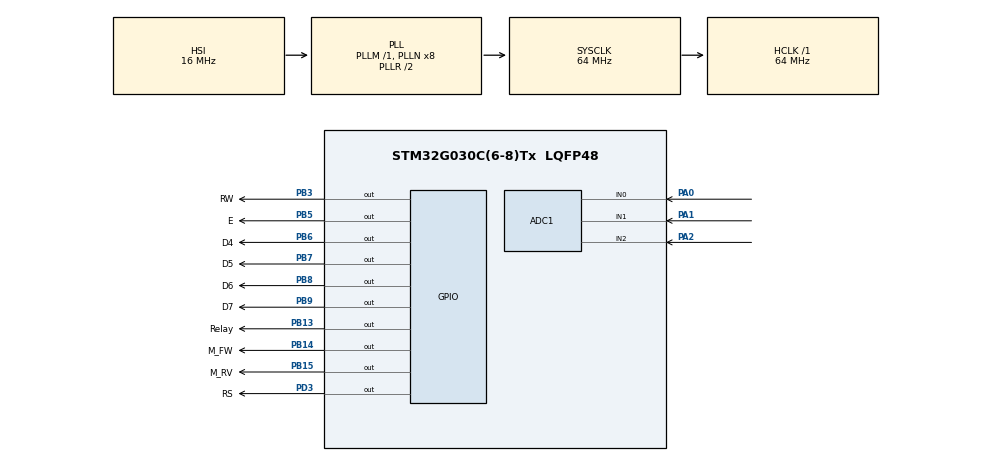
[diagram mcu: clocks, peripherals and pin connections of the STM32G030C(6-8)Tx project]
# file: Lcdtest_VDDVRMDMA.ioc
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ADC1.Channel-6\#ChannelRegularConversion=ADC_CHANNEL_0
ADC1.Channel-7\#ChannelRegularConversion=ADC_CHANNEL_1
ADC1.Channel-8\#ChannelRegularConversion=ADC_CHANNEL_2
ADC1.ClockPrescaler=ADC_CLOCK_ASYNC_DIV16
ADC1.ContinuousConvMode=ENABLE
ADC1.DMAContinuousRequests=DISABLE
ADC1.LowPowerAutoPowerOff=ENABLE
ADC1.NbrOfConversion=3
ADC1.NbrOfConversionFlag=1
ADC1.Rank-6\#ChannelRegularConversion=1
ADC1.Rank-7\#ChannelRegularConversion=2
ADC1.Rank-8\#ChannelRegularConversion=3
ADC1.SamplingTime-6\#ChannelRegularConversion=ADC_SAMPLINGTIME_COMMON_1
ADC1.SamplingTime-7\#ChannelRegularConversion=ADC_SAMPLINGTIME_COMMON_1
ADC1.SamplingTime-8\#ChannelRegularConversion=ADC_SAMPLINGTIME_COMMON_1
ADC1.SamplingTimeCommon1=ADC_SAMPLETIME_160CYCLES_5
ADC1.SelectedChannel=ADC_CHANNEL_0|ADC_CHANNEL_1|ADC_CHANNEL_2
ADC1.master=1
Dma.ADC1.0.Direction=DMA_PERIPH_TO_MEMORY
Dma.ADC1.0.EventEnable=DISABLE
Dma.ADC1.0.Instance=DMA1_Channel1
Dma.ADC1.0.MemDataAlignment=DMA_MDATAALIGN_HALFWORD
Dma.ADC1.0.MemInc=DMA_MINC_ENABLE
Dma.ADC1.0.Mode=DMA_NORMAL
Dma.ADC1.0.PeriphDataAlignment=DMA_PDATAALIGN_HALFWORD
Dma.ADC1.0.PeriphInc=DMA_PINC_DISABLE
Dma.ADC1.0.Polarity=HAL_DMAMUX_REQ_GEN_RISING
Dma.ADC1.0.Priority=DMA_PRIORITY_LOW
Dma.ADC1.0.RequestNumber=1
Dma.ADC1.0.SignalID=NONE
Dma.ADC1.0.SyncEnable=DISABLE
Dma.ADC1.0.SyncPolarity=HAL_DMAMUX_SYNC_NO_EVENT
Dma.ADC1.0.SyncRequestNumber=1
Dma.ADC1.0.SyncSignalID=NONE
Dma.Request0=ADC1
Mcu.Family=STM32G0
Mcu.Name=STM32G030C(6-8)Tx
Mcu.Package=LQFP48
NVIC.DMA1_Channel1_IRQn=true\:0\:0\:false\:false\:true\:false\:true\:true
PA0.Mode=IN0
PA0.Signal=ADC1_IN0
PA1.Mode=IN1
PA1.Signal=ADC1_IN1
PA13.Mode=Serial_Wire
PA13.Signal=SYS_SWDIO
PA14-BOOT0.Mode=Serial_Wire
PA14-BOOT0.Signal=SYS_SWCLK
PA2.Mode=IN2
PA2.Signal=ADC1_IN2
PB13.GPIO_Label=Relay
PB13.GPIO_PuPd=GPIO_PULLDOWN
PB13.Signal=GPIO_Output
PB14.GPIO_Label=M_FW
PB14.GPIO_PuPd=GPIO_PULLDOWN
PB14.Signal=GPIO_Output
PB15.GPIO_Label=M_RV
PB15.GPIO_PuPd=GPIO_PULLDOWN
PB15.Signal=GPIO_Output
PB3.GPIO_Label=RW
PB3.Signal=GPIO_Output
PB5.GPIO_Label=E
PB5.Signal=GPIO_Output
PB6.GPIO_Label=D4
PB6.Signal=GPIO_Output
PB7.GPIO_Label=D5
PB7.Signal=GPIO_Output
PB8.GPIO_Label=D6
PB8.Signal=GPIO_Output
PB9.GPIO_Label=D7
PB9.Signal=GPIO_Output
PD3.GPIO_Label=RS
PD3.Signal=GPIO_Output
ProjectManager.HeapSize=0x200
ProjectManager.StackSize=0x400
ProjectManager.TargetToolchain=STM32CubeIDE
RCC.ADCFreq_Value=64000000
RCC.AHBFreq_Value=64000000
RCC.CortexFreq_Value=64000000
RCC.EXTERNAL_CLOCK_VALUE=12288000
RCC.HCLKFreq_Value=64000000
RCC.HSE_VALUE=8000000
RCC.HSI_VALUE=16000000
RCC.LSE_VALUE=32768
RCC.SYSCLKFreq_VALUE=64000000
RCC.SYSCLKSource=RCC_SYSCLKSOURCE_PLLCLK
RCC.VCOOutputFreq_Value=128000000
TIM1.Prescaler=64-1
VP_TIM1_VS_ClockSourceINT.Mode=Internal
board=custom

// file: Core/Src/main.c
/* USER CODE BEGIN Header */
/**
  ******************************************************************************
  * @file           : main.c
  * @brief          : Main program body
  ******************************************************************************
  * @attention
  *
  * Copyright (c) 2023 STMicroelectronics.
  * All rights reserved.
  *
  * This software is licensed under terms that can be found in the LICENSE file
  * in the root directory of this software component.
  * If no LICENSE file comes with this software, it is provided AS-IS.
  *
  ******************************************************************************
  */
/* USER CODE END Header */
#include "main.h"

/* USER CODE BEGIN Includes */
#include"lcd1.h"
#include "stdio.h"
#include "math.h"
#include "string.h"
/* USER CODE END Includes */

/* USER CODE BEGIN PD */
#define fact_val 3
#define fact_val_addr *((uint16_t*)0x1FFF75AA)
#define Reso 4095
#define DMA_Time_Out 100
#define NumOfADCChan 3
#define EachChanSample 160
/* USER CODE END PD */

ADC_HandleTypeDef hadc1;
DMA_HandleTypeDef hdma_adc1;

TIM_HandleTypeDef htim1;

/* USER CODE BEGIN PV */
char text[100];
uint16_t Id =0;
uint32_t Start_Time=0;
uint16_t Diff_Time=0;
typedef enum
{
	Fun_Ok, //Represents FADC status that it is OK
	Fun_Error, //Represents FADC Error
	Fun_Timeout //Represents that FADC is timed out
}Fun_Status;
typedef enum
{
    ADC_DMA_Init,
    ADC_DMA_Ready,
    ADC_DMA_Started,
    ADC_DMA_Completed,
	ADC_DMA_ERROR
}ADC_DMA_Status;

typedef struct{
    float Vraw1;
    float Vraw2;
    float Vraw3;
    float Vref;
    float K;
    float DCoffset;
    float Vrms1;
    float Vrms2;
    float Vrms3;
    ADC_DMA_Status StatusDMA;
    ADC_HandleTypeDef* HADC;
    uint16_t ADC_DMA_Sample[NumOfADCChan*EachChanSample];
}ADCPar;
ADCPar ADCVar;
/* USER CODE END PV */

void SystemClock_Config(void);
static void MX_GPIO_Init(void);
static void MX_DMA_Init(void);
static void MX_TIM1_Init(void);
static void MX_ADC1_Init(void);

/* USER CODE BEGIN 0 */
void Vrefint_init(ADC_HandleTypeDef* HADC)
{

  /* USER CODE BEGIN ADC1_Init 0 */

  /* USER CODE END ADC1_Init 0 */

  ADC_ChannelConfTypeDef sConfig = {0};

  /* USER CODE BEGIN ADC1_Init 1 */

  /* USER CODE END ADC1_Init 1 */

  /** Configure the global features of the ADC (Clock, Resolution, Data Alignment and number of conversion)
  */
  HADC->Instance = ADC1;
  HADC->Init.ClockPrescaler = ADC_CLOCK_SYNC_PCLK_DIV2;
  HADC->Init.Resolution = ADC_RESOLUTION_12B;
  HADC->Init.DataAlign = ADC_DATAALIGN_RIGHT;
  HADC->Init.ScanConvMode = ADC_SCAN_DISABLE;
  HADC->Init.EOCSelection = ADC_EOC_SINGLE_CONV;
  HADC->Init.LowPowerAutoWait = DISABLE;
  HADC->Init.LowPowerAutoPowerOff = DISABLE;
  HADC->Init.ContinuousConvMode = DISABLE;
  HADC->Init.NbrOfConversion = 1;
  HADC->Init.DiscontinuousConvMode = DISABLE;
  HADC->Init.ExternalTrigConv = ADC_SOFTWARE_START;
  HADC->Init.ExternalTrigConvEdge = ADC_EXTERNALTRIGCONVEDGE_NONE;
  HADC->Init.DMAContinuousRequests = DISABLE;
  HADC->Init.Overrun = ADC_OVR_DATA_PRESERVED;
  HADC->Init.SamplingTimeCommon1 = ADC_SAMPLETIME_160CYCLES_5;
  HADC->Init.SamplingTimeCommon2 = ADC_SAMPLETIME_1CYCLE_5;
  HADC->Init.OversamplingMode = DISABLE;
  HADC->Init.TriggerFrequencyMode = ADC_TRIGGER_FREQ_HIGH;
  if (HAL_ADC_Init(&hadc1) != HAL_OK)
  {

  }

  /** Configure Regular Channel
  */
  sConfig.Channel = ADC_CHANNEL_VREFINT;
  sConfig.Rank = ADC_REGULAR_RANK_1;
  sConfig.SamplingTime = ADC_SAMPLINGTIME_COMMON_1;
  if (HAL_ADC_ConfigChannel(&hadc1, &sConfig) != HAL_OK)
  {

  }
  /* USER CODE BEGIN ADC1_Init 2 */

  /* USER CODE END ADC1_Init 2 */

}

Fun_Status GetVref(ADCPar * ADCValues)
{
	  Vrefint_init(ADCValues->HADC);
	  if(HAL_ADC_Start(ADCValues->HADC) != HAL_OK)
	  {
		return Fun_Error;
	  }
	  if(HAL_ADC_PollForConversion(ADCValues->HADC, HAL_MAX_DELAY) != HAL_OK)
	  {
		  return Fun_Error;
	  }
	  ADCValues->Vref = HAL_ADC_GetValue(ADCValues->HADC);
	  if(HAL_ADC_Stop(ADCValues->HADC) != HAL_OK)
	  {
		  return Fun_Error;
	  }
	  ADCValues->Vref =(fact_val * fact_val_addr)/ADCValues->Vref;
	  ADCValues->K=ADCValues->Vref/Reso;
	  //3 channel init
	  MX_ADC1_Init();
	  HAL_Delay(10);
	  HAL_ADCEx_Calibration_Start(&hadc1);
	  HAL_Delay(10);
	  return Fun_Ok;
}

Fun_Status FADC_Get_VRMS(ADCPar* FADC_p){

    if((FADC_p->StatusDMA==ADC_DMA_Ready)||(FADC_p->StatusDMA==ADC_DMA_ERROR))
    {
        //
        Start_Time=HAL_GetTick();
        HAL_ADC_Start_DMA(FADC_p->HADC, (uint32_t*)&FADC_p->ADC_DMA_Sample,NumOfADCChan*EachChanSample);
        FADC_p->StatusDMA=ADC_DMA_Started;
    }

    if(FADC_p->StatusDMA==ADC_DMA_Completed)
    {
        uint16_t id=0;
        long double Vrmssqr1=0,Vrmssqr2=0,Vrmssqr3=0;
         for(id=0;id<EachChanSample;id++)
         {
             FADC_p->Vrms1 = FADC_p->ADC_DMA_Sample[id*3];
             FADC_p->Vrms2 = FADC_p->ADC_DMA_Sample[(id*3)+1];
             FADC_p->Vrms3 = FADC_p->ADC_DMA_Sample[(id*3)+2];

             FADC_p->Vrms1  =  (FADC_p->Vrms1)-2047.5;
             FADC_p->Vrms2  =  (FADC_p->Vrms2)-2047.5;
             FADC_p->Vrms3  =  (FADC_p->Vrms3)-2047.5;

             Vrmssqr1+=FADC_p->Vrms1*FADC_p->Vrms1 ;
             Vrmssqr2+=FADC_p->Vrms2*FADC_p->Vrms2 ;
             Vrmssqr3+=FADC_p->Vrms3*FADC_p->Vrms3 ;
         }

         //each channel mean
         Vrmssqr1=Vrmssqr1/id;
         Vrmssqr2=Vrmssqr2/id;
         Vrmssqr3=Vrmssqr3/id;

         FADC_p->Vrms1 = sqrt(Vrmssqr1);
         FADC_p->Vrms2 = sqrt(Vrmssqr2);
         FADC_p->Vrms3 = sqrt(Vrmssqr3);

         FADC_p->Vraw1 = FADC_p->Vrms1;
         FADC_p->Vraw2 = FADC_p->Vrms2;
         FADC_p->Vraw3 = FADC_p->Vrms3;

         FADC_p->Vrms1 *= ((0.3543)*(FADC_p->Vref/3.3));
         FADC_p->Vrms2 *= ((0.4966)*(FADC_p->Vref/3.3));
         FADC_p->Vrms3 *= ((0.4966)*(FADC_p->Vref/3.3));
         FADC_p->StatusDMA=ADC_DMA_Ready;

         //check condition

    }
    return Fun_Ok;
}

void HAL_ADC_ConvCpltCallback(ADC_HandleTypeDef* hadc)
{
  if(hadc->Instance == ADC1)
  {
	  ADCVar.StatusDMA = ADC_DMA_Completed;
    // This function will be called when ADC conversion is complete
    // You can process the ADC data here
      Diff_Time=HAL_GetTick()-Start_Time;

  }
}
void HAL_ADC_ErrorCallback(ADC_HandleTypeDef *hadc)
{
	  if(hadc->Instance == ADC1)
	  {
		  ADCVar.StatusDMA = ADC_DMA_ERROR;
		  Diff_Time=HAL_GetTick()-Start_Time;
	  }
}

/* USER CODE END 0 */

int main(void)
{

  /* MCU Configuration--------------------------------------------------------*/

  /* Reset of all peripherals, Initializes the Flash interface and the Systick. */
  HAL_Init();

  /* USER CODE BEGIN Init */
//uint8_t Sample = 0;
//float SampleVolatge = 0;
  /* USER CODE END Init */

  /* Configure the system clock */
  SystemClock_Config();

  /* Initialize all configured peripherals */
  MX_GPIO_Init();
  MX_DMA_Init();
  MX_TIM1_Init();
  MX_ADC1_Init();
  /* USER CODE BEGIN 2 */
  LCD_Init();
  LCD_Clear();
  LCD_SetCursor(0, 0);
  LCD_Print("  LOL....");
  HAL_Delay(1000);
  HAL_ADCEx_Calibration_Start(&hadc1);
  HAL_Delay(10);
  ADCVar.StatusDMA = ADC_DMA_Ready;
  ADCVar.HADC =&hadc1;
  GetVref(&ADCVar);
  /* USER CODE END 2 */

  /* Infinite loop */
  while (1)
  {

    /* USER CODE BEGIN 3 */
//	  HAL_GPIO_WritePin(GPIOB, GPIO_PIN_9, GPIO_PIN_RESET);
//	  HAL_GPIO_WritePin(M_RV_GPIO_Port, M_RV_Pin, GPIO_PIN_RESET);
//	  HAL_GPIO_WritePin(M_FW_GPIO_Port, M_FW_Pin, GPIO_PIN_SET);
	  //HAL_GPIO_TogglePin(Relay_GPIO_Port, Relay_Pin);

	  uint32_t timeout = HAL_GetTick();
	  while((HAL_GetTick()-timeout)<1000)
	  {
//		  GetVref(&ADCVar);
		  FADC_Get_VRMS(&ADCVar);

	  }

	  LCD_Clear();
	  LCD_SetCursor(0, 0);
	  sprintf(text,"Voltage %d,%d",Diff_Time,(uint16_t)(ADCVar.Vraw1*100));
	  LCD_Print(text);
	  LCD_SetCursor(1, 0);
	  sprintf(text,"%d,%d,%d",(uint16_t)(ADCVar.Vrms1),Id,(uint16_t)(ADCVar.Vref*10));
	  LCD_Print(text);
	  HAL_Delay(500);
//	  GetVref(&ADCVar);

//	  for(uint32_t id =0;id<=20000;id++)
//	  {
//
//	  }
//	  HAL_GPIO_WritePin(GPIOB, GPIO_PIN_9, GPIO_PIN_SET);
//	  HAL_GPIO_WritePin(M_RV_GPIO_Port, M_RV_Pin, GPIO_PIN_SET);
//	  HAL_GPIO_WritePin(M_FW_GPIO_Port, M_FW_Pin, GPIO_PIN_RESET);
//	  for(uint32_t id =0;id<=20000;id++)
//	  {
//
//	  }
//	  HAL_GPIO_TogglePin(Relay_GPIO_Port, Relay_Pin);
//	  LCD_Clear();
//	  LCD_SetCursor(0, 0);
//	  LCD_Print("L_!@#$%^^&*)_");
//	  LCD_SetCursor(1, 0);
//	  LCD_Print("_+&%#@&_");

  }
  /* USER CODE END 3 */
}

void SystemClock_Config(void)
{
  RCC_OscInitTypeDef RCC_OscInitStruct = {0};
  RCC_ClkInitTypeDef RCC_ClkInitStruct = {0};

  /** Configure the main internal regulator output voltage
  */
  HAL_PWREx_ControlVoltageScaling(PWR_REGULATOR_VOLTAGE_SCALE1);

  /** Initializes the RCC Oscillators according to the specified parameters
  * in the RCC_OscInitTypeDef structure.
  */
  RCC_OscInitStruct.OscillatorType = RCC_OSCILLATORTYPE_HSI;
  RCC_OscInitStruct.HSIState = RCC_HSI_ON;
  RCC_OscInitStruct.HSIDiv = RCC_HSI_DIV1;
  RCC_OscInitStruct.HSICalibrationValue = RCC_HSICALIBRATION_DEFAULT;
  RCC_OscInitStruct.PLL.PLLState = RCC_PLL_ON;
  RCC_OscInitStruct.PLL.PLLSource = RCC_PLLSOURCE_HSI;
  RCC_OscInitStruct.PLL.PLLM = RCC_PLLM_DIV1;
  RCC_OscInitStruct.PLL.PLLN = 8;
  RCC_OscInitStruct.PLL.PLLP = RCC_PLLP_DIV2;
  RCC_OscInitStruct.PLL.PLLR = RCC_PLLR_DIV2;
  if (HAL_RCC_OscConfig(&RCC_OscInitStruct) != HAL_OK)
  {
    Error_Handler();
  }

  /** Initializes the CPU, AHB and APB buses clocks
  */
  RCC_ClkInitStruct.ClockType = RCC_CLOCKTYPE_HCLK|RCC_CLOCKTYPE_SYSCLK
                              |RCC_CLOCKTYPE_PCLK1;
  RCC_ClkInitStruct.SYSCLKSource = RCC_SYSCLKSOURCE_PLLCLK;
  RCC_ClkInitStruct.AHBCLKDivider = RCC_SYSCLK_DIV1;
  RCC_ClkInitStruct.APB1CLKDivider = RCC_HCLK_DIV1;

  if (HAL_RCC_ClockConfig(&RCC_ClkInitStruct, FLASH_LATENCY_2) != HAL_OK)
  {
    Error_Handler();
  }
}

static void MX_ADC1_Init(void)
{

  ADC_ChannelConfTypeDef sConfig = {0};

  /** Configure the global features of the ADC (Clock, Resolution, Data Alignment and number of conversion)
  */
  hadc1.Instance = ADC1;
  hadc1.Init.ClockPrescaler = ADC_CLOCK_ASYNC_DIV16;
  hadc1.Init.Resolution = ADC_RESOLUTION_12B;
  hadc1.Init.DataAlign = ADC_DATAALIGN_RIGHT;
  hadc1.Init.ScanConvMode = ADC_SCAN_ENABLE;
  hadc1.Init.EOCSelection = ADC_EOC_SINGLE_CONV;
  hadc1.Init.LowPowerAutoWait = DISABLE;
  hadc1.Init.LowPowerAutoPowerOff = ENABLE;
  hadc1.Init.ContinuousConvMode = ENABLE;
  hadc1.Init.NbrOfConversion = 3;
  hadc1.Init.ExternalTrigConv = ADC_SOFTWARE_START;
  hadc1.Init.ExternalTrigConvEdge = ADC_EXTERNALTRIGCONVEDGE_NONE;
  hadc1.Init.DMAContinuousRequests = DISABLE;
  hadc1.Init.Overrun = ADC_OVR_DATA_PRESERVED;
  hadc1.Init.SamplingTimeCommon1 = ADC_SAMPLETIME_160CYCLES_5;
  hadc1.Init.SamplingTimeCommon2 = ADC_SAMPLETIME_1CYCLE_5;
  hadc1.Init.OversamplingMode = DISABLE;
  hadc1.Init.TriggerFrequencyMode = ADC_TRIGGER_FREQ_HIGH;
  if (HAL_ADC_Init(&hadc1) != HAL_OK)
  {
    Error_Handler();
  }

  /** Configure Regular Channel
  */
  sConfig.Channel = ADC_CHANNEL_0;
  sConfig.Rank = ADC_REGULAR_RANK_1;
  sConfig.SamplingTime = ADC_SAMPLINGTIME_COMMON_1;
  if (HAL_ADC_ConfigChannel(&hadc1, &sConfig) != HAL_OK)
  {
    Error_Handler();
  }

  /** Configure Regular Channel
  */
  sConfig.Channel = ADC_CHANNEL_1;
  sConfig.Rank = ADC_REGULAR_RANK_2;
  if (HAL_ADC_ConfigChannel(&hadc1, &sConfig) != HAL_OK)
  {
    Error_Handler();
  }

  /** Configure Regular Channel
  */
  sConfig.Channel = ADC_CHANNEL_2;
  sConfig.Rank = ADC_REGULAR_RANK_3;
  if (HAL_ADC_ConfigChannel(&hadc1, &sConfig) != HAL_OK)
  {
    Error_Handler();
  }

}

static void MX_TIM1_Init(void)
{

  TIM_ClockConfigTypeDef sClockSourceConfig = {0};
  TIM_MasterConfigTypeDef sMasterConfig = {0};

  htim1.Instance = TIM1;
  htim1.Init.Prescaler = 64-1;
  htim1.Init.CounterMode = TIM_COUNTERMODE_UP;
  htim1.Init.Period = 65535;
  htim1.Init.ClockDivision = TIM_CLOCKDIVISION_DIV1;
  htim1.Init.RepetitionCounter = 0;
  htim1.Init.AutoReloadPreload = TIM_AUTORELOAD_PRELOAD_DISABLE;
  if (HAL_TIM_Base_Init(&htim1) != HAL_OK)
  {
    Error_Handler();
  }
  sClockSourceConfig.ClockSource = TIM_CLOCKSOURCE_INTERNAL;
  if (HAL_TIM_ConfigClockSource(&htim1, &sClockSourceConfig) != HAL_OK)
  {
    Error_Handler();
  }
  sMasterConfig.MasterOutputTrigger = TIM_TRGO_RESET;
  sMasterConfig.MasterOutputTrigger2 = TIM_TRGO2_RESET;
  sMasterConfig.MasterSlaveMode = TIM_MASTERSLAVEMODE_DISABLE;
  if (HAL_TIMEx_MasterConfigSynchronization(&htim1, &sMasterConfig) != HAL_OK)
  {
    Error_Handler();
  }

}

static void MX_DMA_Init(void)
{

  /* DMA controller clock enable */
  __HAL_RCC_DMA1_CLK_ENABLE();

  /* DMA interrupt init */
  /* DMA1_Channel1_IRQn interrupt configuration */
  HAL_NVIC_SetPriority(DMA1_Channel1_IRQn, 0, 0);
  HAL_NVIC_EnableIRQ(DMA1_Channel1_IRQn);

}

static void MX_GPIO_Init(void)
{
  GPIO_InitTypeDef GPIO_InitStruct = {0};

  /* GPIO Ports Clock Enable */
  __HAL_RCC_GPIOA_CLK_ENABLE();
  __HAL_RCC_GPIOB_CLK_ENABLE();
  __HAL_RCC_GPIOD_CLK_ENABLE();

  /*Configure GPIO pin Output Level */
  HAL_GPIO_WritePin(GPIOB, Relay_Pin|M_FW_Pin|M_RV_Pin|RW_Pin
                          |E_Pin|D4_Pin|D5_Pin|D6_Pin
                          |D7_Pin, GPIO_PIN_RESET);

  /*Configure GPIO pin Output Level */
  HAL_GPIO_WritePin(RS_GPIO_Port, RS_Pin, GPIO_PIN_RESET);

  /*Configure GPIO pins : Relay_Pin M_FW_Pin M_RV_Pin */
  GPIO_InitStruct.Pin = Relay_Pin|M_FW_Pin|M_RV_Pin;
  GPIO_InitStruct.Mode = GPIO_MODE_OUTPUT_PP;
  GPIO_InitStruct.Pull = GPIO_PULLDOWN;
  GPIO_InitStruct.Speed = GPIO_SPEED_FREQ_LOW;
  HAL_GPIO_Init(GPIOB, &GPIO_InitStruct);

  /*Configure GPIO pin : RS_Pin */
  GPIO_InitStruct.Pin = RS_Pin;
  GPIO_InitStruct.Mode = GPIO_MODE_OUTPUT_PP;
  GPIO_InitStruct.Pull = GPIO_NOPULL;
  GPIO_InitStruct.Speed = GPIO_SPEED_FREQ_LOW;
  HAL_GPIO_Init(RS_GPIO_Port, &GPIO_InitStruct);

  /*Configure GPIO pins : RW_Pin E_Pin D4_Pin D5_Pin
                           D6_Pin D7_Pin */
  GPIO_InitStruct.Pin = RW_Pin|E_Pin|D4_Pin|D5_Pin
                          |D6_Pin|D7_Pin;
  GPIO_InitStruct.Mode = GPIO_MODE_OUTPUT_PP;
  GPIO_InitStruct.Pull = GPIO_NOPULL;
  GPIO_InitStruct.Speed = GPIO_SPEED_FREQ_LOW;
  HAL_GPIO_Init(GPIOB, &GPIO_InitStruct);

}

void Error_Handler(void)
{
  __disable_irq();
  while (1)
  {
  }
}
